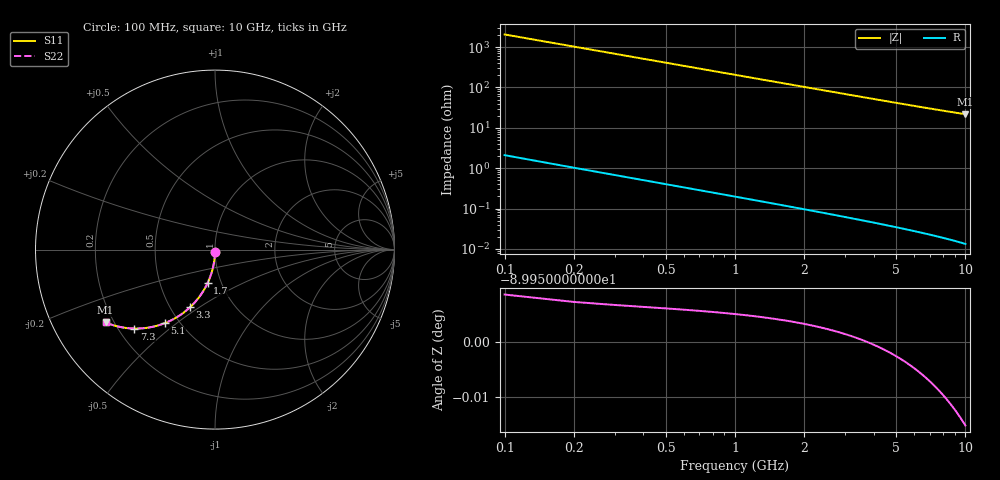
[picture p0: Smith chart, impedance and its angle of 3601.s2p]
# Hz S RI R 50.00
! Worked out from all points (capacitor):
!   100 points, 100 MHz to 10 GHz, reference 50 ohm
!   read as one part in shunt: C = 774 fF near 100 MHz
!   lowest |Z| = 21.7 ohm at 10 GHz (marker M1)
!   S11 on the Smith chart (normalised r, x): 100 MHz: 1.00, -0.02; 1.7 GHz: 0.86, -0.33; 3.3 GHz: 0.63, -0.46; 5.1 GHz: 0.42, -0.45; 7.3 GHz: 0.26, -0.38; 10 GHz: 0.17, -0.29
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1e8  0.000151 -0.0114  0.9995 -0.0129  0.9995 -0.0129  0.000151 -0.0114
2e8  -0.0003 -0.0228  0.9991 -0.0258  0.9991 -0.0258  -0.0003 -0.0228
3e8  -0.00104 -0.0341  0.9983 -0.0387  0.9983 -0.0387  -0.00104 -0.0341
4e8  -0.00208 -0.0454  0.9973 -0.0516  0.9973 -0.0516  -0.00208 -0.0454
5e8  -0.00341 -0.0567  0.9959 -0.0644  0.9959 -0.0644  -0.00341 -0.0567
6e8  -0.00502 -0.0679  0.9943 -0.0772  0.9943 -0.0772  -0.00502 -0.0679
8e8  -0.00911 -0.0902  0.9902 -0.1025  0.9902 -0.1025  -0.00911 -0.0902
9e8  -0.0116 -0.1012  0.9877 -0.115  0.9877 -0.115  -0.0116 -0.1012
1.1e9  -0.0173 -0.1229  0.9819 -0.1399  0.9819 -0.1399  -0.0173 -0.1229
1.4e9  -0.0279 -0.1547  0.9712 -0.1763  0.9712 -0.1763  -0.0279 -0.1547
1.7e9  -0.0408 -0.1853  0.9582 -0.2115  0.9582 -0.2115  -0.0408 -0.1853
1.8e9  -0.0455 -0.1952  0.9534 -0.2229  0.9534 -0.2229  -0.0455 -0.1952
2.1e9  -0.0611 -0.2239  0.9377 -0.2562  0.9377 -0.2562  -0.0611 -0.2239
2.5e9  -0.0846 -0.2595  0.914 -0.2981  0.914 -0.2981  -0.0846 -0.2595
3.3e9  -0.1392 -0.3212  0.8588 -0.3722  0.8588 -0.3722  -0.1392 -0.3212
3.4e9  -0.1466 -0.3279  0.8513 -0.3805  0.8513 -0.3805  -0.1466 -0.3279
4.2e9  -0.2085 -0.3742  0.7887 -0.4393  0.7887 -0.4393  -0.2085 -0.3742
5.1e9  -0.281 -0.4102  0.7152 -0.4895  0.7152 -0.4895  -0.281 -0.4102
6.7e9  -0.4057 -0.4386  0.5881 -0.5435  0.5881 -0.5435  -0.4057 -0.4386
7.3e9  -0.4488 -0.4398  0.5438 -0.5545  0.5438 -0.5545  -0.4488 -0.4398
8.4e9  -0.5211 -0.4324  0.4692 -0.5652  0.4692 -0.5652  -0.5211 -0.4324
1e10  -0.6099 -0.4057  0.3764 -0.5655  0.3764 -0.5655  -0.6099 -0.4057
